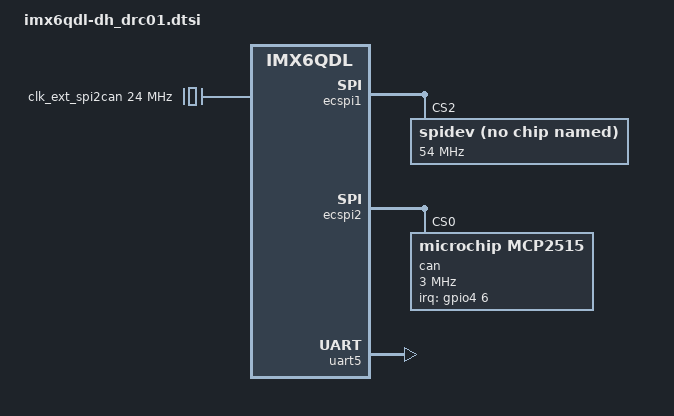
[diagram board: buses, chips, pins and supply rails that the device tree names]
/*
 * Copyright 2015 DH electronics GmbH
 *
 * The code contained herein is licensed under the GNU General Public
 * License. You may obtain a copy of the GNU General Public License
 * Version 2 or later at the following locations:
 *
 * http://www.opensource.org/licenses/gpl-license.html
 * http://www.gnu.org/copyleft/gpl.html
 */

#include <dt-bindings/pwm/pwm.h>
#include <dt-bindings/gpio/gpio.h>
#include <dt-bindings/clock/imx6qdl-clock.h>

/ {
	clocks {
		#address-cells = <1>;
		#size-cells = <0>;
		clk_ext_spi2can: clock@1 {
			compatible = "fixed-clock";
			reg = <1>;
			#clock-cells = <0>;
			clock-frequency = <24000000>;
		};
	};
};

&ecspi1 {									// ********** SPI 1 **********
	spidev@2 {								// ==> /dev/spidev0.2
		compatible =  "spidev", "fsl,ecspi";
		reg = <2>;							// SS2
		spi-max-frequency = <54000000>;
		spi-cpha;							// Shifted clock phase (CPHA) mode
		spi-cpol;							// Inverse clock polarity (CPOL) mode
	};
};

&ecspi2 {									// ********** SPI 2 **********
	can@0 {
		compatible = "microchip,mcp2515";
		reg = <0>;							// SS0
		clocks = <&clk_ext_spi2can>;
		interrupt-parent = <&gpio4>;					// Use INT_HIGHEST_PRIORITY GPIO 4.6 for interrupt
		interrupts = <6 0x2>;
		spi-max-frequency = <3000000>;					// MCP2515 limit is 10MHz, because of the voltage divider in MISO we use 3MHz
		spi-cpha;							// Shifted clock phase (CPHA) mode
		spi-cpol;							// Inverse clock polarity (CPOL) mode
	};
};

&DHCOM_I2C1 {									// ********** I2C 1 **********
};

&DHCOM_I2C2 {									// ********** I2C 2 **********
};

&DHCOM_I2C_ONMODULE {								// ****** I2C onModule *******
};

&uart5 { 									// UART 2 (BT) ==> /dev/ttymxc4
	fsl,rs485-mode;								// Enable rs485 mode
	rts_gpio = <&gpio7 13 0>;						// GPIO P: rs485 rts = Receive Transmit Switch GPIO
	rxen_gpio = <&gpio1 18 0>;						// GPIO Q: rs485 rxen = RX Enable GPIO
	//rs485-rx-during-tx;							// Receive data during transfer
	status = "okay";
};

&iomuxc {
	pinctrl-names = "default";
	pinctrl-0 = <&pinctrl_dhcom_hog_base &pinctrl_dhcom_hog>;

	imx6qdl-drc01_base {
		pinctrl_dhcom_hog: hog_grp {
			fsl,pins = <
				MX6QDL_PAD_GPIO_2__GPIO1_IO02       0x400120B0	// GPIO A
				MX6QDL_PAD_GPIO_4__GPIO1_IO04       0x400120B0	// GPIO B
				MX6QDL_PAD_GPIO_5__GPIO1_IO05       0x400120B0	// GPIO C
				MX6QDL_PAD_CSI0_DAT17__GPIO6_IO03   0x400120B0	// GPIO D
				MX6QDL_PAD_GPIO_19__GPIO4_IO05      0x400120B0	// GPIO E
				MX6QDL_PAD_DI0_PIN4__GPIO4_IO20     0x400120B0	// GPIO F
				MX6QDL_PAD_EIM_D27__GPIO3_IO27      0x400120B0	// GPIO G
				MX6QDL_PAD_KEY_ROW0__GPIO4_IO07     0x400120B0	// GPIO H
				MX6QDL_PAD_KEY_COL1__GPIO4_IO08     0x400120B0	// GPIO I
				MX6QDL_PAD_NANDF_CS1__GPIO6_IO14    0x400120B0	// GPIO J
				MX6QDL_PAD_NANDF_CS2__GPIO6_IO15    0x400120B0	// GPIO K
				MX6QDL_PAD_KEY_ROW1__GPIO4_IO09     0x400120B0	// GPIO L
				MX6QDL_PAD_SD3_DAT5__GPIO7_IO00     0x400120B0	// GPIO M
				MX6QDL_PAD_SD3_DAT4__GPIO7_IO01     0x400120B0	// GPIO N
				MX6QDL_PAD_CSI0_VSYNC__GPIO5_IO21   0x400120B0	// GPIO O
				MX6QDL_PAD_GPIO_18__GPIO7_IO13      0x400120B0	// GPIO P -> rs485 rts
				MX6QDL_PAD_SD1_CMD__GPIO1_IO18      0x400120B0	// GPIO Q -> rs485 rxen
				MX6QDL_PAD_SD1_DAT0__GPIO1_IO16     0x400120B0	// GPIO R
				MX6QDL_PAD_SD1_DAT1__GPIO1_IO17     0x400120B0	// GPIO S
				MX6QDL_PAD_SD1_DAT2__GPIO1_IO19     0x400120B0	// GPIO T
				MX6QDL_PAD_SD1_CLK__GPIO1_IO20      0x400120B0	// GPIO U
				MX6QDL_PAD_CSI0_PIXCLK__GPIO5_IO18  0x400120B0	// GPIO V
				MX6QDL_PAD_CSI0_MCLK__GPIO5_IO19    0x400120B0	// GPIO W
				MX6QDL_PAD_KEY_COL0__GPIO4_IO06     0x400120B0	// INT_HIGHEST_PRIORITY -> spi2can
			>;
		};
	};
};
